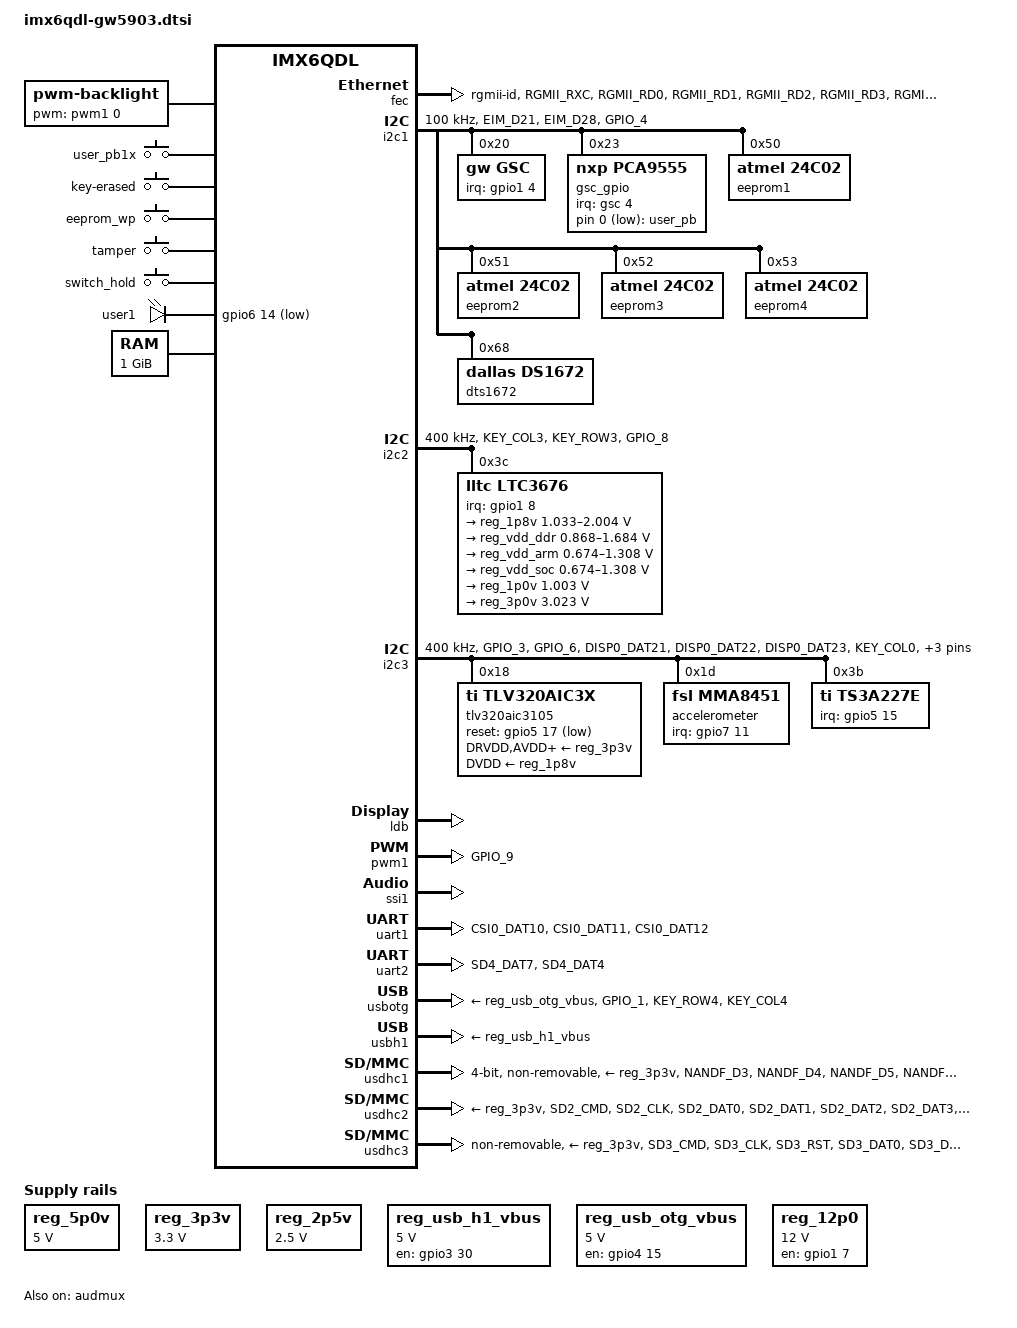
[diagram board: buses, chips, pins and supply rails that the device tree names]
// SPDX-License-Identifier: (GPL-2.0-only OR MIT)
/*
 * Copyright 2017 Gateworks Corporation
 */

#include <dt-bindings/gpio/gpio.h>
#include <dt-bindings/input/linux-event-codes.h>
#include <dt-bindings/interrupt-controller/irq.h>

/ {
	chosen {
		stdout-path = &uart2;
	};

	backlight {
		compatible = "pwm-backlight";
		pwms = <&pwm1 0 5000000 0>;
		brightness-levels = <
			0  1  2  3  4  5  6  7  8  9
			10 11 12 13 14 15 16 17 18 19
			20 21 22 23 24 25 26 27 28 29
			30 31 32 33 34 35 36 37 38 39
			40 41 42 43 44 45 46 47 48 49
			50 51 52 53 54 55 56 57 58 59
			60 61 62 63 64 65 66 67 68 69
			70 71 72 73 74 75 76 77 78 79
			80 81 82 83 84 85 86 87 88 89
			90 91 92 93 94 95 96 97 98 99
			100
			>;
		default-brightness-level = <100>;
	};

	gpio-keys {
		compatible = "gpio-keys";

		key-user-pb {
			label = "user_pb";
			gpios = <&gsc_gpio 0 GPIO_ACTIVE_LOW>;
			linux,code = <BTN_0>;
		};

		key-user-pb1x {
			label = "user_pb1x";
			linux,code = <BTN_1>;
			interrupt-parent = <&gsc>;
			interrupts = <0>;
		};

		key-erased {
			label = "key-erased";
			linux,code = <BTN_2>;
			interrupt-parent = <&gsc>;
			interrupts = <1>;
		};

		key-eeprom-wp {
			label = "eeprom_wp";
			linux,code = <BTN_3>;
			interrupt-parent = <&gsc>;
			interrupts = <2>;
		};

		key-tamper {
			label = "tamper";
			linux,code = <BTN_4>;
			interrupt-parent = <&gsc>;
			interrupts = <5>;
		};

		key-switch-hold {
			label = "switch_hold";
			linux,code = <BTN_5>;
			interrupt-parent = <&gsc>;
			interrupts = <7>;
		};
	};

	leds {
		compatible = "gpio-leds";
		pinctrl-names = "default";
		pinctrl-0 = <&pinctrl_gpio_leds>;

		led0: led-user1 {
			label = "user1";
			gpios = <&gpio6 14 GPIO_ACTIVE_LOW>; /* MX6_LOCLED# */
			default-state = "off";
		};
	};

	memory@10000000 {
		device_type = "memory";
		reg = <0x10000000 0x40000000>;
	};

	reg_5p0v: regulator-5p0v {
		compatible = "regulator-fixed";
		regulator-name = "5P0V";
		regulator-min-microvolt = <5000000>;
		regulator-max-microvolt = <5000000>;
		regulator-always-on;
	};

	reg_3p3v: regulator-3p3v {
		compatible = "regulator-fixed";
		regulator-name = "3P3V";
		regulator-min-microvolt = <3300000>;
		regulator-max-microvolt = <3300000>;
		regulator-always-on;
	};

	reg_2p5v: regulator-2p5v {
		compatible = "regulator-fixed";
		regulator-name = "2P5V";
		regulator-min-microvolt = <2500000>;
		regulator-max-microvolt = <2500000>;
		regulator-always-on;
	};

	reg_usb_h1_vbus: regulator-usb-h1-vbus {
		compatible = "regulator-fixed";
		regulator-name = "usb_h1_vbus";
		regulator-min-microvolt = <5000000>;
		regulator-max-microvolt = <5000000>;
		gpio = <&gpio3 30 0>;
		enable-active-high;
	};

	reg_usb_otg_vbus: regulator-usb-otg-vbus {
		compatible = "regulator-fixed";
		regulator-name = "usb_otg_vbus";
		regulator-min-microvolt = <5000000>;
		regulator-max-microvolt = <5000000>;
		gpio = <&gpio4 15 GPIO_ACTIVE_HIGH>;
		enable-active-high;
	};

	reg_12p0: regulator-12p0v {
		compatible = "regulator-fixed";
		regulator-name = "12P0V";
		regulator-min-microvolt = <12000000>;
		regulator-max-microvolt = <12000000>;
		gpio = <&gpio1 7 GPIO_ACTIVE_HIGH>;
		enable-active-high;
	};

	sound {
		compatible = "fsl,imx-audio-tlv320";
		model = "imx-tlv320";
		ssi-controller = <&ssi1>;
		audio-codec = <&tlv320aic3105>;
		/* routing of sink, source */
		audio-routing =
			/* TLV320 LINE1L pin <-> Mic Jack connector */
			"LINE1L", "Mic Jack",
			/* board Headphone Jack <-> HPOUT */
			"Headphone Jack", "HPLOUT",
			"Headphone Jack", "HPROUT",
			"Mic Jack", "Mic Bias";
		mux-int-port = <1>;
		mux-ext-port = <6>;
	};
};

&audmux {
	pinctrl-names = "default";
	pinctrl-0 = <&pinctrl_audmux>;
	status = "okay";
};

&clks {
	assigned-clocks = <&clks IMX6QDL_CLK_LDB_DI0_SEL>,
			  <&clks IMX6QDL_CLK_LDB_DI1_SEL>;
	assigned-clock-parents = <&clks IMX6QDL_CLK_PLL3_USB_OTG>,
				 <&clks IMX6QDL_CLK_PLL3_USB_OTG>;
};

&fec {
	pinctrl-names = "default";
	pinctrl-0 = <&pinctrl_enet>;
	phy-mode = "rgmii-id";
	status = "okay";
};

&i2c1 {
	clock-frequency = <100000>;
	pinctrl-names = "default";
	pinctrl-0 = <&pinctrl_i2c1>;
	status = "okay";

	gsc: gsc@20 {
		compatible = "gw,gsc";
		reg = <0x20>;
		interrupt-parent = <&gpio1>;
		interrupts = <4 IRQ_TYPE_LEVEL_LOW>;
		interrupt-controller;
		#interrupt-cells = <1>;
		#address-cells = <1>;
		#size-cells = <0>;

		adc {
			compatible = "gw,gsc-adc";
			#address-cells = <1>;
			#size-cells = <0>;

			channel@0 {
				gw,mode = <0>;
				reg = <0x00>;
				label = "temp";
			};

			channel@2 {
				gw,mode = <1>;
				reg = <0x02>;
				label = "vdd_vin";
			};

			channel@5 {
				gw,mode = <1>;
				reg = <0x05>;
				label = "vdd_3p3";
			};

			channel@8 {
				gw,mode = <1>;
				reg = <0x08>;
				label = "vdd_bat";
			};

			channel@b {
				gw,mode = <1>;
				reg = <0x0b>;
				label = "vdd_5p0";
			};

			channel@e {
				gw,mode = <1>;
				reg = <0xe>;
				label = "vdd_arm";
			};

			channel@11 {
				gw,mode = <1>;
				reg = <0x11>;
				label = "vdd_soc";
			};

			channel@14 {
				gw,mode = <1>;
				reg = <0x14>;
				label = "vdd_3p0";
			};

			channel@17 {
				gw,mode = <1>;
				reg = <0x17>;
				label = "vdd_1p5";
			};

			channel@1d {
				gw,mode = <1>;
				reg = <0x1d>;
				label = "vdd_1p8";
			};

			channel@20 {
				gw,mode = <1>;
				reg = <0x20>;
				label = "vdd_an1";
			};

			channel@23 {
				gw,mode = <1>;
				reg = <0x23>;
				label = "vdd_2p5";
			};
		};
	};

	gsc_gpio: gpio@23 {
		compatible = "nxp,pca9555";
		reg = <0x23>;
		gpio-controller;
		#gpio-cells = <2>;
		interrupt-parent = <&gsc>;
		interrupts = <4>;
	};

	eeprom1: eeprom@50 {
		compatible = "atmel,24c02";
		reg = <0x50>;
		pagesize = <16>;
	};

	eeprom2: eeprom@51 {
		compatible = "atmel,24c02";
		reg = <0x51>;
		pagesize = <16>;
	};

	eeprom3: eeprom@52 {
		compatible = "atmel,24c02";
		reg = <0x52>;
		pagesize = <16>;
	};

	eeprom4: eeprom@53 {
		compatible = "atmel,24c02";
		reg = <0x53>;
		pagesize = <16>;
	};

	dts1672: rtc@68 {
		compatible = "dallas,ds1672";
		reg = <0x68>;
	};
};

&i2c2 {
	clock-frequency = <400000>;
	pinctrl-names = "default";
	pinctrl-0 = <&pinctrl_i2c2>;
	status = "okay";

	ltc3676: pmic@3c {
		compatible = "lltc,ltc3676";
		reg = <0x3c>;
		interrupt-parent = <&gpio1>;
		interrupts = <8 IRQ_TYPE_EDGE_FALLING>;

		regulators {
			/* VDD_1P8 (1+R1/R2 = 2.505): Aud/eMMC/microSD/Touch */
			reg_1p8v: sw1 {
				regulator-name = "vdd1p8";
				regulator-min-microvolt = <1033310>;
				regulator-max-microvolt = <2004000>;
				lltc,fb-voltage-divider = <301000 200000>;
				regulator-ramp-delay = <7000>;
				regulator-boot-on;
				regulator-always-on;
			};

			/* VDD_DDR (1+R1/R2 = 2.105) */
			reg_vdd_ddr: sw2 {
				regulator-name = "vddddr";
				regulator-min-microvolt = <868310>;
				regulator-max-microvolt = <1684000>;
				lltc,fb-voltage-divider = <221000 200000>;
				regulator-ramp-delay = <7000>;
				regulator-boot-on;
				regulator-always-on;
			};

			/* VDD_ARM (1+R1/R2 = 1.635) */
			reg_vdd_arm: sw3 {
				regulator-name = "vddarm";
				regulator-min-microvolt = <674400>;
				regulator-max-microvolt = <1308000>;
				lltc,fb-voltage-divider = <127000 200000>;
				regulator-ramp-delay = <7000>;
				regulator-boot-on;
				regulator-always-on;
				linux,phandle = <&reg_vdd_arm>;
			};

			/* VDD_SOC (1+R1/R2 = 1.635) */
			reg_vdd_soc: sw4 {
				regulator-name = "vddsoc";
				regulator-min-microvolt = <674400>;
				regulator-max-microvolt = <1308000>;
				lltc,fb-voltage-divider = <127000 200000>;
				regulator-ramp-delay = <7000>;
				regulator-boot-on;
				regulator-always-on;
				linux,phandle = <&reg_vdd_soc>;
			};

			/* VDD_1P0 (1+R1/R2 = 1.38): */
			reg_1p0v: ldo2 {
				regulator-name = "vdd1p0";
				regulator-min-microvolt = <1002777>;
				regulator-max-microvolt = <1002777>;
				lltc,fb-voltage-divider = <100000 261000>;
				regulator-boot-on;
				regulator-always-on;
			};

			/* VDD_HIGH (1+R1/R2 = 4.17) */
			reg_3p0v: ldo4 {
				regulator-name = "vdd3p0";
				regulator-min-microvolt = <3023250>;
				regulator-max-microvolt = <3023250>;
				lltc,fb-voltage-divider = <634000 200000>;
				regulator-boot-on;
				regulator-always-on;
			};
		};
	};
};

&i2c3 {
	clock-frequency = <400000>;
	pinctrl-names = "default";
	pinctrl-0 = <&pinctrl_i2c3>;
	status = "okay";

	tlv320aic3105: codec@18 {
		compatible = "ti,tlv320aic3x";
		reg = <0x18>;
		reset-gpios = <&gpio5 17 GPIO_ACTIVE_LOW>;
		clocks = <&clks IMX6QDL_CLK_CKO>;
		ai3x-micbias-vg = <2>; /* MICBIAS_2_5V */
		/* Regulators */
		DRVDD-supply = <&reg_3p3v>;
		AVDD-supply = <&reg_3p3v>;
		IOVDD-supply = <&reg_3p3v>;
		DVDD-supply = <&reg_1p8v>;
	};

	accelerometer@1d {
		compatible = "fsl,mma8451";
		reg = <0x1d>;
		interrupt-parent = <&gpio7>;
		interrupts = <11 IRQ_TYPE_EDGE_RISING>;
		interrupt-names = "INT2";
	};

	/* headphone detect */
	ts3a227e@3b {
		compatible = "ti,ts3a227e";
		reg = <0x3b>;
		interrupt-parent = <&gpio5>;
		interrupts = <15 IRQ_TYPE_LEVEL_LOW>;
		ti,micbias = <4>; /* 2.5V micbias */
	};
};

&ldb {
	status = "okay";

	lvds-channel@0 {
		fsl,data-mapping = "spwg";
		fsl,data-width = <18>;
		status = "okay";

		display-timings {
			native-mode = <&timing0>;
			timing0: timing-g101evn010 {
				clock-frequency = <68930000>;
				hactive = <1280>;
				vactive = <800>;
				hback-porch = <220>;
				hfront-porch = <40>;
				vback-porch = <21>;
				vfront-porch = <7>;
				hsync-len = <60>;
				vsync-len = <10>;
			};
		};
	};
};

&pwm1 {
	pinctrl-names = "default";
	pinctrl-0 = <&pinctrl_pwm1>;
	status = "okay";
};

&ssi1 {
	status = "okay";
};

&uart1 {
	pinctrl-names = "default";
	pinctrl-0 = <&pinctrl_uart1>;
	status = "okay";
};

&uart2 {
	pinctrl-names = "default";
	pinctrl-0 = <&pinctrl_uart2>;
	status = "okay";
};

&usbotg {
	vbus-supply = <&reg_usb_otg_vbus>;
	pinctrl-names = "default";
	pinctrl-0 = <&pinctrl_usbotg>;
	disable-over-current;
	status = "okay";
};

&usbh1 {
	vbus-supply = <&reg_usb_h1_vbus>;
	status = "okay";
};

&usdhc1 {
	pinctrl-names = "default";
	pinctrl-0 = <&pinctrl_usdhc1_200mhz>;
	vmmc-supply = <&reg_3p3v>;
	non-removable;
	bus-width = <4>;
	status = "okay";
};

&usdhc2 {
	pinctrl-names = "default", "state_100mhz", "state_200mhz";
	pinctrl-0 = <&pinctrl_usdhc2>;
	pinctrl-1 = <&pinctrl_usdhc2_100mhz>;
	pinctrl-2 = <&pinctrl_usdhc2_200mhz>;
	cd-gpios = <&gpio6 11 GPIO_ACTIVE_LOW>;
	vmmc-supply = <&reg_3p3v>;
	max-frequency = <100000000>;
	status = "okay";
};

&usdhc3 {
	pinctrl-names = "default", "state_100mhz", "state_200mhz";
	pinctrl-0 = <&pinctrl_usdhc3>;
	pinctrl-1 = <&pinctrl_usdhc3_100mhz>;
	pinctrl-2 = <&pinctrl_usdhc3_200mhz>;
	non-removable;
	vmmc-supply = <&reg_3p3v>;
	keep-power-in-suspend;
	status = "okay";
};

&wdog1 {
	pinctrl-names = "default";
	pinctrl-0 = <&pinctrl_wdog>;
	fsl,ext-reset-output;
};

&iomuxc {
	pinctrl_audmux: audmuxgrp {
		fsl,pins = <
			MX6QDL_PAD_DI0_PIN2__AUD6_TXD		0x130b0
			MX6QDL_PAD_DI0_PIN3__AUD6_TXFS		0x130b0
			MX6QDL_PAD_DI0_PIN4__AUD6_RXD		0x130b0
			MX6QDL_PAD_DI0_PIN15__AUD6_TXC		0x130b0
			MX6QDL_PAD_GPIO_0__CCM_CLKO1		0x130b0 /* MCK */
		>;
	};

	pinctrl_enet: enetgrp {
		fsl,pins = <
			MX6QDL_PAD_RGMII_RXC__RGMII_RXC		0x1b030
			MX6QDL_PAD_RGMII_RD0__RGMII_RD0		0x1b030
			MX6QDL_PAD_RGMII_RD1__RGMII_RD1		0x1b030
			MX6QDL_PAD_RGMII_RD2__RGMII_RD2		0x1b030
			MX6QDL_PAD_RGMII_RD3__RGMII_RD3		0x1b030
			MX6QDL_PAD_RGMII_RX_CTL__RGMII_RX_CTL	0x1b030
			MX6QDL_PAD_RGMII_TXC__RGMII_TXC		0x1b030
			MX6QDL_PAD_RGMII_TD0__RGMII_TD0		0x1b030
			MX6QDL_PAD_RGMII_TD1__RGMII_TD1		0x1b030
			MX6QDL_PAD_RGMII_TD2__RGMII_TD2		0x1b030
			MX6QDL_PAD_RGMII_TD3__RGMII_TD3		0x1b030
			MX6QDL_PAD_RGMII_TX_CTL__RGMII_TX_CTL	0x1b030
			MX6QDL_PAD_ENET_REF_CLK__ENET_TX_CLK	0x1b0b0
			MX6QDL_PAD_ENET_MDIO__ENET_MDIO		0x1b0b0
			MX6QDL_PAD_ENET_MDC__ENET_MDC		0x1b0b0
			MX6QDL_PAD_ENET_TXD0__GPIO1_IO30	0x4001b0b0 /* PHY_RST# */
			MX6QDL_PAD_ENET_CRS_DV__GPIO1_IO25	0x4001b0b0 /* PHY_EN */
		>;
	};

	pinctrl_gpio_leds: gpioledsgrp {
		fsl,pins = <
			MX6QDL_PAD_NANDF_CS1__GPIO6_IO14	0x1b0b0
		>;
	};

	pinctrl_i2c1: i2c1grp {
		fsl,pins = <
			MX6QDL_PAD_EIM_D21__I2C1_SCL		0x4001b8b1
			MX6QDL_PAD_EIM_D28__I2C1_SDA		0x4001b8b1
			MX6QDL_PAD_GPIO_4__GPIO1_IO04		0x0001b0b0 /* GSC_IRQ# */
		>;
	};

	pinctrl_i2c2: i2c2grp {
		fsl,pins = <
			MX6QDL_PAD_KEY_COL3__I2C2_SCL		0x4001b8b1
			MX6QDL_PAD_KEY_ROW3__I2C2_SDA		0x4001b8b1
			MX6QDL_PAD_GPIO_8__GPIO1_IO08		0x0001b0b0 /* PMIC_IRQ# */
		>;
	};

	pinctrl_i2c3: i2c3grp {
		fsl,pins = <
			/* I2C3 */
			MX6QDL_PAD_GPIO_3__I2C3_SCL		0x4001b8b1
			MX6QDL_PAD_GPIO_6__I2C3_SDA		0x4001b8b1

			/* Headphone Detect */
			MX6QDL_PAD_DISP0_DAT21__GPIO5_IO15	0x0001b0b0 /* HPDET_IRQ# */
			MX6QDL_PAD_DISP0_DAT22__GPIO5_IO16	0x0001b0b0 /* HPDET_MIC# */

			/* Codec */
			MX6QDL_PAD_DISP0_DAT23__GPIO5_IO17	0x0001b0b0 /* CODEC_RST# */

			/* Touch Controller */
			MX6QDL_PAD_KEY_COL0__GPIO4_IO06		0x0001b0b0 /* TOUCH_IRQ# */
			MX6QDL_PAD_KEY_COL1__GPIO4_IO08		0x0001b0b0 /* TOUCH_RST */

			/* Stow Sensor */
			MX6QDL_PAD_GPIO_16__GPIO7_IO11		0x0001b0b0 /* ACCEL_IRQ2 */
			MX6QDL_PAD_GPIO_18__GPIO7_IO13		0x0001b0b0 /* ACCEL_IRQ1 */
		>;
	};

	pinctrl_pwm1: pwm1grp {
		fsl,pins = <
			MX6QDL_PAD_GPIO_9__PWM1_OUT		0x1b0b1
		>;
	};

	pinctrl_uart1: uart1grp {
		fsl,pins = <
			MX6QDL_PAD_CSI0_DAT10__UART1_TX_DATA	0x1b0b1
			MX6QDL_PAD_CSI0_DAT11__UART1_RX_DATA	0x1b0b1
			MX6QDL_PAD_CSI0_DAT12__GPIO5_IO30	0x1b0b1 /* TXEN */
		>;
	};

	pinctrl_uart2: uart2grp {
		fsl,pins = <
			MX6QDL_PAD_SD4_DAT7__UART2_TX_DATA	0x1b0b1
			MX6QDL_PAD_SD4_DAT4__UART2_RX_DATA	0x1b0b1
		>;
	};

	pinctrl_usbotg: usbotggrp {
		fsl,pins = <
			MX6QDL_PAD_GPIO_1__USB_OTG_ID		0x13059
			MX6QDL_PAD_KEY_ROW4__GPIO4_IO15		0x4001b0b0 /* PWR_EN */
			MX6QDL_PAD_KEY_COL4__GPIO4_IO14		0x1b0b0 /* OC */
		>;
	};

	pinctrl_usdhc1_200mhz: usdhc1-200mhz-grp {
		fsl,pins = <
			MX6QDL_PAD_NANDF_D3__GPIO2_IO03		0x4001b0b0 /* EMMY_EN */
			MX6QDL_PAD_NANDF_D4__GPIO2_IO04		0x4001b0b0 /* EMMY_CFG1# */
			MX6QDL_PAD_NANDF_D5__GPIO2_IO05		0x4001b0b0 /* EMMY_CFG2# */
			MX6QDL_PAD_NANDF_D6__GPIO2_IO06		0x0001b0b0 /* EMMY_BTWAKE# */
			MX6QDL_PAD_NANDF_D7__GPIO2_IO07		0x0001b0b0 /* EMMY_WFWAKE# */

			MX6QDL_PAD_SD1_CLK__SD1_CLK		0x100f9
			MX6QDL_PAD_SD1_CMD__SD1_CMD		0x100f9
			MX6QDL_PAD_SD1_DAT0__SD1_DATA0		0x170f9
			MX6QDL_PAD_SD1_DAT1__SD1_DATA1		0x170f9
			MX6QDL_PAD_SD1_DAT2__SD1_DATA2		0x170f9
			MX6QDL_PAD_SD1_DAT3__SD1_DATA3		0x170f9
		>;
	};

	pinctrl_usdhc2: usdhc2grp {
		fsl,pins = <
			MX6QDL_PAD_SD2_CMD__SD2_CMD		0x17059
			MX6QDL_PAD_SD2_CLK__SD2_CLK		0x10059
			MX6QDL_PAD_SD2_DAT0__SD2_DATA0		0x17059
			MX6QDL_PAD_SD2_DAT1__SD2_DATA1		0x17059
			MX6QDL_PAD_SD2_DAT2__SD2_DATA2		0x17059
			MX6QDL_PAD_SD2_DAT3__SD2_DATA3		0x17059
			MX6QDL_PAD_NANDF_CS0__GPIO6_IO11	0x17059 /* CD */
			MX6QDL_PAD_KEY_ROW1__SD2_VSELECT	0x17059
		>;
	};

	pinctrl_usdhc2_100mhz: usdhc2-100mhz-grp {
		fsl,pins = <
			MX6QDL_PAD_SD2_CMD__SD2_CMD		0x170b9
			MX6QDL_PAD_SD2_CLK__SD2_CLK		0x100b9
			MX6QDL_PAD_SD2_DAT0__SD2_DATA0		0x170b9
			MX6QDL_PAD_SD2_DAT1__SD2_DATA1		0x170b9
			MX6QDL_PAD_SD2_DAT2__SD2_DATA2		0x170b9
			MX6QDL_PAD_SD2_DAT3__SD2_DATA3		0x170b9
			MX6QDL_PAD_NANDF_CS0__GPIO6_IO11	0x170b9 /* CD */
			MX6QDL_PAD_KEY_ROW1__SD2_VSELECT	0x170b9
		>;
	};

	pinctrl_usdhc2_200mhz: usdhc2-200mhz-grp {
		fsl,pins = <
			MX6QDL_PAD_SD2_CMD__SD2_CMD		0x170f9
			MX6QDL_PAD_SD2_CLK__SD2_CLK		0x100f9
			MX6QDL_PAD_SD2_DAT0__SD2_DATA0		0x170f9
			MX6QDL_PAD_SD2_DAT1__SD2_DATA1		0x170f9
			MX6QDL_PAD_SD2_DAT2__SD2_DATA2		0x170f9
			MX6QDL_PAD_SD2_DAT3__SD2_DATA3		0x170f9
			MX6QDL_PAD_NANDF_CS0__GPIO6_IO11	0x170f9 /* CD */
			MX6QDL_PAD_KEY_ROW1__SD2_VSELECT	0x170f9
		>;
	};

	pinctrl_usdhc3: usdhc3grp {
		fsl,pins = <
			MX6QDL_PAD_SD3_CMD__SD3_CMD		0x17059
			MX6QDL_PAD_SD3_CLK__SD3_CLK		0x10059
			MX6QDL_PAD_SD3_RST__SD3_RESET		0x10059
			MX6QDL_PAD_SD3_DAT0__SD3_DATA0		0x17059
			MX6QDL_PAD_SD3_DAT1__SD3_DATA1		0x17059
			MX6QDL_PAD_SD3_DAT2__SD3_DATA2		0x17059
			MX6QDL_PAD_SD3_DAT3__SD3_DATA3		0x17059
			MX6QDL_PAD_SD3_DAT4__SD3_DATA4		0x17059
			MX6QDL_PAD_SD3_DAT5__SD3_DATA5		0x17059
			MX6QDL_PAD_SD3_DAT6__SD3_DATA6		0x17059
			MX6QDL_PAD_SD3_DAT7__SD3_DATA7		0x17059
		>;
	};

	pinctrl_usdhc3_100mhz: usdhc3-100mhz-grp {
		fsl,pins = <
			MX6QDL_PAD_SD3_CMD__SD3_CMD		0x170b9
			MX6QDL_PAD_SD3_CLK__SD3_CLK		0x100b9
			MX6QDL_PAD_SD3_RST__SD3_RESET		0x100b9
			MX6QDL_PAD_SD3_DAT0__SD3_DATA0		0x170b9
			MX6QDL_PAD_SD3_DAT1__SD3_DATA1		0x170b9
			MX6QDL_PAD_SD3_DAT2__SD3_DATA2		0x170b9
			MX6QDL_PAD_SD3_DAT3__SD3_DATA3		0x170b9
			MX6QDL_PAD_SD3_DAT4__SD3_DATA4		0x170b9
			MX6QDL_PAD_SD3_DAT5__SD3_DATA5		0x170b9
			MX6QDL_PAD_SD3_DAT6__SD3_DATA6		0x170b9
			MX6QDL_PAD_SD3_DAT7__SD3_DATA7		0x170b9
		>;
	};

	pinctrl_usdhc3_200mhz: usdhc3-200mhz-grp {
		fsl,pins = <
			MX6QDL_PAD_SD3_CMD__SD3_CMD		0x170f9
			MX6QDL_PAD_SD3_CLK__SD3_CLK		0x100f9
			MX6QDL_PAD_SD3_RST__SD3_RESET		0x100f9
			MX6QDL_PAD_SD3_DAT0__SD3_DATA0		0x170f9
			MX6QDL_PAD_SD3_DAT1__SD3_DATA1		0x170f9
			MX6QDL_PAD_SD3_DAT2__SD3_DATA2		0x170f9
			MX6QDL_PAD_SD3_DAT3__SD3_DATA3		0x170f9
			MX6QDL_PAD_SD3_DAT4__SD3_DATA4		0x170f9
			MX6QDL_PAD_SD3_DAT5__SD3_DATA5		0x170f9
			MX6QDL_PAD_SD3_DAT6__SD3_DATA6		0x170f9
			MX6QDL_PAD_SD3_DAT7__SD3_DATA7		0x170f9
		>;
	};

	pinctrl_wdog: wdoggrp {
		fsl,pins = <
			MX6QDL_PAD_DISP0_DAT8__WDOG1_B		0x1b0b0
		>;
	};
};
